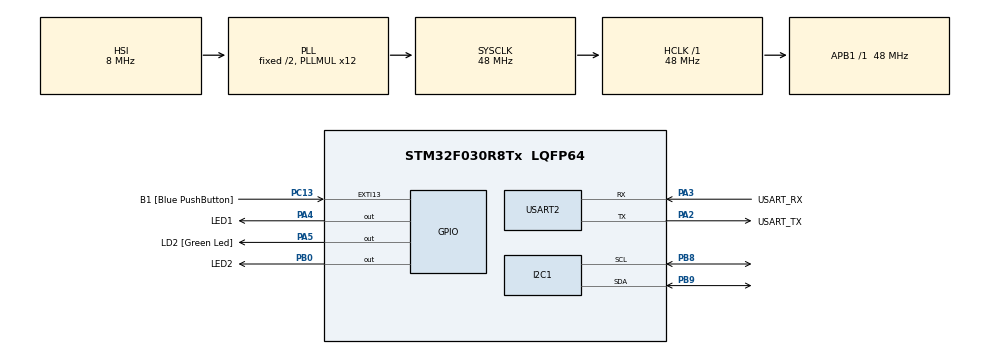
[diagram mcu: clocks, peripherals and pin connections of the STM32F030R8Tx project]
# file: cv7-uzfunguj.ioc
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FREERTOS.Queues01=xVisualQueue,16,uint16_t,0,Dynamic,NULL,NULL
FREERTOS.Tasks01=defaultTask,0,128,StartDefaultTask,Default,NULL,Dynamic,NULL,NULL;VisualTask,0,128,StartVisualTask,Default,NULL,Dynamic,NULL,NULL;AcceleroTask,0,128,StartAcceleroTask,Default,NULL,Dynamic,NULL,NULL
I2C1.Timing=0x00201D2B
Mcu.Family=STM32F0
Mcu.Name=STM32F030R8Tx
Mcu.Package=LQFP64
NVIC.TIM14_IRQn=true\:3\:0\:false\:false\:true\:false\:false\:true\:true
NVIC.TimeBase=TIM14_IRQn
NVIC.TimeBaseIP=TIM14
PA13.GPIO_Label=TMS
PA13.Mode=Serial_Wire
PA13.Signal=SYS_SWDIO
PA14.GPIO_Label=TCK
PA14.Mode=Serial_Wire
PA14.Signal=SYS_SWCLK
PA2.GPIO_Label=USART_TX
PA2.GPIO_Mode=GPIO_MODE_AF_PP
PA2.GPIO_PuPd=GPIO_NOPULL
PA2.GPIO_Speed=GPIO_SPEED_FREQ_LOW
PA2.Mode=Asynchronous
PA2.Signal=USART2_TX
PA3.GPIO_Label=USART_RX
PA3.GPIO_Mode=GPIO_MODE_AF_PP
PA3.GPIO_PuPd=GPIO_NOPULL
PA3.GPIO_Speed=GPIO_SPEED_FREQ_LOW
PA3.Mode=Asynchronous
PA3.Signal=USART2_RX
PA4.GPIO_Label=LED1
PA4.Signal=GPIO_Output
PA5.GPIO_Label=LD2 [Green Led]
PA5.GPIO_Mode=GPIO_MODE_OUTPUT_PP
PA5.GPIO_PuPd=GPIO_NOPULL
PA5.GPIO_Speed=GPIO_SPEED_FREQ_LOW
PA5.Signal=GPIO_Output
PB0.GPIO_Label=LED2
PB0.Signal=GPIO_Output
PB8.Mode=I2C
PB8.Signal=I2C1_SCL
PB9.Mode=I2C
PB9.Signal=I2C1_SDA
PC13.GPIO_Label=B1 [Blue PushButton]
PC13.GPIO_ModeDefaultEXTI=GPIO_MODE_IT_FALLING
PC13.Signal=GPXTI13
PC14-OSC32_IN.Mode=LSE-External-Oscillator
PC14-OSC32_IN.Signal=RCC_OSC32_IN
PC15-OSC32_OUT.Mode=LSE-External-Oscillator
PC15-OSC32_OUT.Signal=RCC_OSC32_OUT
PF0-OSC_IN.Mode=HSE-External-Clock-Source
PF0-OSC_IN.Signal=RCC_OSC_IN
PF1-OSC_OUT.Signal=RCC_OSC_OUT
ProjectManager.HeapSize=0x200
ProjectManager.StackSize=0x400
ProjectManager.TargetToolchain=STM32CubeIDE
RCC.AHBFreq_Value=48000000
RCC.APB1Freq_Value=48000000
RCC.APB1TimFreq_Value=48000000
RCC.HCLKFreq_Value=48000000
RCC.PLLMUL=RCC_PLL_MUL12
RCC.SYSCLKFreq_VALUE=48000000
RCC.SYSCLKSource=RCC_SYSCLKSOURCE_PLLCLK
USART2.VirtualMode-Asynchronous=VM_ASYNC
VP_FREERTOS_VS_CMSIS_V1.Mode=CMSIS_V1
VP_SYS_VS_tim14.Mode=TIM14
board=NUCLEO-F030R8

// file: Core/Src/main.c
/* USER CODE BEGIN Header */
/**
  ******************************************************************************
  * @file           : main.c
  * @brief          : Main program body
  ******************************************************************************
  * @attention
  *
  * Copyright (c) 2024 STMicroelectronics.
  * All rights reserved.
  *
  * This software is licensed under terms that can be found in the LICENSE file
  * in the root directory of this software component.
  * If no LICENSE file comes with this software, it is provided AS-IS.
  *
  ******************************************************************************
  */
/* USER CODE END Header */
#include "main.h"
#include "cmsis_os.h"
#include <stdio.h>
#include "lis2dw12_reg.h"

/* USER CODE BEGIN PM */
#define READ_DELAY 50
/* USER CODE END PM */

I2C_HandleTypeDef hi2c1;

UART_HandleTypeDef huart2;

osThreadId defaultTaskHandle;
osThreadId VisualTaskHandle;
osThreadId AcceleroTaskHandle;
osMessageQId xVisualQueueHandle;

void SystemClock_Config(void);
static void MX_GPIO_Init(void);
static void MX_USART2_UART_Init(void);
static void MX_I2C1_Init(void);
void StartDefaultTask(void const * argument);
void StartVisualTask(void const * argument);
void StartAcceleroTask(void const * argument);

/* USER CODE BEGIN PFP */
static int32_t platform_write(void *handle, uint8_t reg, const uint8_t *bufp, uint16_t len);
static int32_t platform_read(void *handle, uint8_t reg, uint8_t *bufp, uint16_t len);
static stmdev_ctx_t lis2dw12 = { .write_reg = platform_write, .read_reg = platform_read, .handle = &hi2c1, };
/* USER CODE END PFP */

/* USER CODE BEGIN 0 */
static int32_t platform_write(void *handle, uint8_t reg, const uint8_t *bufp, uint16_t len)
{
	HAL_I2C_Mem_Write(handle, LIS2DW12_I2C_ADD_H, reg, I2C_MEMADD_SIZE_8BIT, (uint8_t*) bufp, len, 1000);
	return 0;
}
static int32_t platform_read(void *handle, uint8_t reg, uint8_t *bufp, uint16_t len)
{
	HAL_I2C_Mem_Read(handle, LIS2DW12_I2C_ADD_H, reg, I2C_MEMADD_SIZE_8BIT, bufp, len, 1000);
	return 0;
}
/* USER CODE END 0 */

int main(void)
{

  /* MCU Configuration--------------------------------------------------------*/

  /* Reset of all peripherals, Initializes the Flash interface and the Systick. */
  HAL_Init();

  /* Configure the system clock */
  SystemClock_Config();

  /* Initialize all configured peripherals */
  MX_GPIO_Init();
  MX_USART2_UART_Init();
  MX_I2C1_Init();

  /* Create the queue(s) */
  /* definition and creation of xVisualQueue */
  osMessageQDef(xVisualQueue, 16, uint16_t);
  xVisualQueueHandle = osMessageCreate(osMessageQ(xVisualQueue), NULL);

  /* Create the thread(s) */
  /* definition and creation of defaultTask */
  osThreadDef(defaultTask, StartDefaultTask, osPriorityNormal, 0, 128);
  defaultTaskHandle = osThreadCreate(osThread(defaultTask), NULL);

  /* definition and creation of VisualTask */
  osThreadDef(VisualTask, StartVisualTask, osPriorityNormal, 0, 128);
  VisualTaskHandle = osThreadCreate(osThread(VisualTask), NULL);

  /* definition and creation of AcceleroTask */
  osThreadDef(AcceleroTask, StartAcceleroTask, osPriorityNormal, 0, 128);
  AcceleroTaskHandle = osThreadCreate(osThread(AcceleroTask), NULL);

  /* Start scheduler */
  osKernelStart();

  /* We should never get here as control is now taken by the scheduler */

  /* Infinite loop */
  while (1)
  {

  }
}

void SystemClock_Config(void)
{
  RCC_OscInitTypeDef RCC_OscInitStruct = {0};
  RCC_ClkInitTypeDef RCC_ClkInitStruct = {0};
  RCC_PeriphCLKInitTypeDef PeriphClkInit = {0};

  /** Initializes the RCC Oscillators according to the specified parameters
  * in the RCC_OscInitTypeDef structure.
  */
  RCC_OscInitStruct.OscillatorType = RCC_OSCILLATORTYPE_HSI;
  RCC_OscInitStruct.HSIState = RCC_HSI_ON;
  RCC_OscInitStruct.HSICalibrationValue = RCC_HSICALIBRATION_DEFAULT;
  RCC_OscInitStruct.PLL.PLLState = RCC_PLL_ON;
  RCC_OscInitStruct.PLL.PLLSource = RCC_PLLSOURCE_HSI;
  RCC_OscInitStruct.PLL.PLLMUL = RCC_PLL_MUL12;
  RCC_OscInitStruct.PLL.PREDIV = RCC_PREDIV_DIV1;
  if (HAL_RCC_OscConfig(&RCC_OscInitStruct) != HAL_OK)
  {
    Error_Handler();
  }

  /** Initializes the CPU, AHB and APB buses clocks
  */
  RCC_ClkInitStruct.ClockType = RCC_CLOCKTYPE_HCLK|RCC_CLOCKTYPE_SYSCLK
                              |RCC_CLOCKTYPE_PCLK1;
  RCC_ClkInitStruct.SYSCLKSource = RCC_SYSCLKSOURCE_PLLCLK;
  RCC_ClkInitStruct.AHBCLKDivider = RCC_SYSCLK_DIV1;
  RCC_ClkInitStruct.APB1CLKDivider = RCC_HCLK_DIV1;

  if (HAL_RCC_ClockConfig(&RCC_ClkInitStruct, FLASH_LATENCY_1) != HAL_OK)
  {
    Error_Handler();
  }
  PeriphClkInit.PeriphClockSelection = RCC_PERIPHCLK_I2C1;
  PeriphClkInit.I2c1ClockSelection = RCC_I2C1CLKSOURCE_HSI;
  if (HAL_RCCEx_PeriphCLKConfig(&PeriphClkInit) != HAL_OK)
  {
    Error_Handler();
  }
}

static void MX_I2C1_Init(void)
{

  hi2c1.Instance = I2C1;
  hi2c1.Init.Timing = 0x00201D2B;
  hi2c1.Init.OwnAddress1 = 0;
  hi2c1.Init.AddressingMode = I2C_ADDRESSINGMODE_7BIT;
  hi2c1.Init.DualAddressMode = I2C_DUALADDRESS_DISABLE;
  hi2c1.Init.OwnAddress2 = 0;
  hi2c1.Init.OwnAddress2Masks = I2C_OA2_NOMASK;
  hi2c1.Init.GeneralCallMode = I2C_GENERALCALL_DISABLE;
  hi2c1.Init.NoStretchMode = I2C_NOSTRETCH_DISABLE;
  if (HAL_I2C_Init(&hi2c1) != HAL_OK)
  {
    Error_Handler();
  }

  /** Configure Analogue filter
  */
  if (HAL_I2CEx_ConfigAnalogFilter(&hi2c1, I2C_ANALOGFILTER_ENABLE) != HAL_OK)
  {
    Error_Handler();
  }

  /** Configure Digital filter
  */
  if (HAL_I2CEx_ConfigDigitalFilter(&hi2c1, 0) != HAL_OK)
  {
    Error_Handler();
  }

}

static void MX_USART2_UART_Init(void)
{

  huart2.Instance = USART2;
  huart2.Init.BaudRate = 38400;
  huart2.Init.WordLength = UART_WORDLENGTH_8B;
  huart2.Init.StopBits = UART_STOPBITS_1;
  huart2.Init.Parity = UART_PARITY_NONE;
  huart2.Init.Mode = UART_MODE_TX_RX;
  huart2.Init.HwFlowCtl = UART_HWCONTROL_NONE;
  huart2.Init.OverSampling = UART_OVERSAMPLING_16;
  huart2.Init.OneBitSampling = UART_ONE_BIT_SAMPLE_DISABLE;
  huart2.AdvancedInit.AdvFeatureInit = UART_ADVFEATURE_NO_INIT;
  if (HAL_UART_Init(&huart2) != HAL_OK)
  {
    Error_Handler();
  }

}

static void MX_GPIO_Init(void)
{
  GPIO_InitTypeDef GPIO_InitStruct = {0};

  /* GPIO Ports Clock Enable */
  __HAL_RCC_GPIOC_CLK_ENABLE();
  __HAL_RCC_GPIOF_CLK_ENABLE();
  __HAL_RCC_GPIOA_CLK_ENABLE();
  __HAL_RCC_GPIOB_CLK_ENABLE();

  /*Configure GPIO pin Output Level */
  HAL_GPIO_WritePin(GPIOA, LED1_Pin|LD2_Pin, GPIO_PIN_RESET);

  /*Configure GPIO pin Output Level */
  HAL_GPIO_WritePin(LED2_GPIO_Port, LED2_Pin, GPIO_PIN_RESET);

  /*Configure GPIO pin : B1_Pin */
  GPIO_InitStruct.Pin = B1_Pin;
  GPIO_InitStruct.Mode = GPIO_MODE_IT_FALLING;
  GPIO_InitStruct.Pull = GPIO_NOPULL;
  HAL_GPIO_Init(B1_GPIO_Port, &GPIO_InitStruct);

  /*Configure GPIO pins : LED1_Pin LD2_Pin */
  GPIO_InitStruct.Pin = LED1_Pin|LD2_Pin;
  GPIO_InitStruct.Mode = GPIO_MODE_OUTPUT_PP;
  GPIO_InitStruct.Pull = GPIO_NOPULL;
  GPIO_InitStruct.Speed = GPIO_SPEED_FREQ_LOW;
  HAL_GPIO_Init(GPIOA, &GPIO_InitStruct);

  /*Configure GPIO pin : LED2_Pin */
  GPIO_InitStruct.Pin = LED2_Pin;
  GPIO_InitStruct.Mode = GPIO_MODE_OUTPUT_PP;
  GPIO_InitStruct.Pull = GPIO_NOPULL;
  GPIO_InitStruct.Speed = GPIO_SPEED_FREQ_LOW;
  HAL_GPIO_Init(LED2_GPIO_Port, &GPIO_InitStruct);

}

void StartDefaultTask(void const * argument)
{
  /* USER CODE BEGIN 5 */
  /* Infinite loop */

 // uint16_t a = -1;

  for(;;)
  {
	/*
	a *= -1;

	int16_t msg = 5000 * a;
	xQueueSend(xVisualQueueHandle, &msg, 0);
	vTaskDelay(300);
    osDelay(1);
    */
  }
  /* USER CODE END 5 */
}

void StartVisualTask(void const * argument)
{
  /* USER CODE BEGIN StartVisualTask */
  /* Infinite loop */
  for(;;)
  {
	  int16_t msg = 0;
	  if (xQueueReceive(xVisualQueueHandle, &msg, portMAX_DELAY)) {
	      HAL_GPIO_WritePin(LED1_GPIO_Port, LED1_Pin, (msg < -1000));
	      HAL_GPIO_WritePin(LED2_GPIO_Port, LED2_Pin, (msg > 1000));
	  }

  }
  /* USER CODE END StartVisualTask */
}

void StartAcceleroTask(void const * argument)
{
	/* USER CODE BEGIN StartAcceleroTask */
	uint8_t whoamI = 0;
	lis2dw12_device_id_get(&lis2dw12, &whoamI);
	printf("LIS2DW12_ID %s\n", (whoamI == LIS2DW12_ID) ? "OK" : "FAIL");
	osDelay(500);

	lis2dw12_full_scale_set(&lis2dw12, LIS2DW12_2g);
	lis2dw12_power_mode_set(&lis2dw12, LIS2DW12_CONT_LOW_PWR_LOW_NOISE_2);
	lis2dw12_block_data_update_set(&lis2dw12, PROPERTY_ENABLE);
	// enable continuous FIFO
	lis2dw12_fifo_mode_set(&lis2dw12, LIS2DW12_STREAM_MODE);
	// enable part from power-down
	lis2dw12_data_rate_set(&lis2dw12, LIS2DW12_XL_ODR_25Hz);
	/* Infinite loop */
	for(;;)
	{
		uint8_t samples;
		int16_t raw_acceleration[3];
		lis2dw12_fifo_data_level_get(&lis2dw12, &samples);
		for (uint8_t i = 0; i < samples; i++)
		{
			lis2dw12_acceleration_raw_get(&lis2dw12, raw_acceleration);
		}
		xQueueSend(xVisualQueueHandle, &raw_acceleration[0], 0);
		vTaskDelay(READ_DELAY);

	}
	/* USER CODE END StartAcceleroTask */
}

void HAL_TIM_PeriodElapsedCallback(TIM_HandleTypeDef *htim)
{
  if (htim->Instance == TIM14) {
    HAL_IncTick();
  }
}

void Error_Handler(void)
{
  __disable_irq();
  while (1)
  {
  }
}
